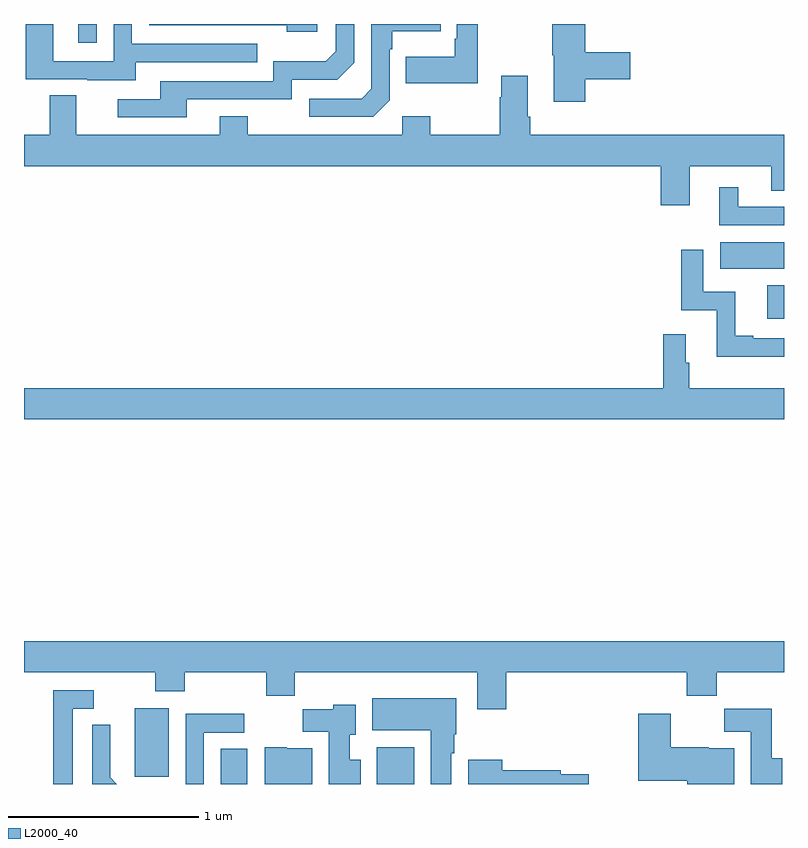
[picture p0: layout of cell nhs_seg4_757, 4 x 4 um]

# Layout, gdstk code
import gdstk
lib = gdstk.Library(unit=1e-6, precision=1e-09)
def R(c, l, rs):  # rectangles x0, y0, x1, y1
    for r in rs: c.add(gdstk.rectangle(r[:2], r[2:], *l))
def P(c, l, *ps):  # polygons
    for p in ps: c.add(gdstk.Polygon(p, *l))
L2000_40 = (2000, 40)

nhs_seg4_757 = lib.new_cell('nhs_seg4_757')
R(nhs_seg4_757, L2000_40, [(150.035,794.9,150.175,795.086), (150.857,794.9,151.054,795.094), (149.582,794.937,149.761,795.298), (152.912,797.348,153,797.524), (152.664,797.612,153,797.752), (149.285,798.801,149.382,798.9)])
P(nhs_seg4_757, L2000_40, [(150.924,798.498),(150.924,798.767),(150.937,798.767),(150.937,798.863),(151.193,798.863),(151.193,798.9),(150.828,798.9),(150.828,798.558),(150.777,798.507),(150.501,798.507),(150.501,798.411),(150.837,798.411)],
  [(151.387,798.9),(151.278,798.9),(151.278,798.823),(151.266,798.823),(151.266,798.727),(151.009,798.727),(151.009,798.587),(151.387,798.587)],
  [(151.955,798.61),(152.191,798.61),(152.191,798.752),(151.955,798.752),(151.955,798.9),(151.78,798.9),(151.78,798.735),(151.787,798.735),(151.787,798.492),(151.955,798.492)],
  [(149.587,798.699),(150.227,798.699),(150.227,798.795),(149.568,798.795),(149.568,798.9),(149.472,798.9),(149.472,798.705),(149.154,798.705),(149.154,798.9),(149.009,798.9),(149.009,798.609),(149.333,798.609),(149.333,798.605),(149.587,798.605)],
  [(150.544,798.9),(149.658,798.9),(149.658,798.894),(150.383,798.894),(150.383,798.86),(150.544,798.86)],
  [(149.857,798.504),(150.408,798.504),(150.408,798.606),(150.648,798.606),(150.738,798.696),(150.738,798.9),(150.642,798.9),(150.642,798.756),(150.589,798.703),(150.312,798.703),(150.312,798.6),(149.717,798.6),(149.717,798.504),(149.493,798.504),(149.493,798.408),(149.857,798.408)],
  [(152.503,798.152),(152.933,798.152),(152.933,798.022),(153,798.022),(153,798.316),(151.664,798.316),(151.664,798.412),(151.651,798.412),(151.651,798.628),(151.511,798.628),(151.511,798.515),(151.504,798.515),(151.504,798.316),(151.137,798.316),(151.137,798.415),(150.99,798.415),(150.99,798.316),(150.177,798.316),(150.177,798.415),(150.029,798.415),(150.029,798.316),(149.275,798.316),(149.275,798.524),(149.135,798.524),(149.135,798.316),(149,798.316),(149,798.152),(152.351,798.152),(152.351,797.946),(152.503,797.946)],
  [(153,797.937),(152.758,797.937),(152.758,798.04),(152.66,798.04),(152.66,797.841),(153,797.841)],
  [(153,797.247),(152.839,797.247),(152.839,797.26),(152.743,797.26),(152.743,797.49),(152.574,797.49),(152.574,797.713),(152.458,797.713),(152.458,797.394),(152.645,797.394),(152.645,797.15),(153,797.15)],
  [(153,796.984),(152.501,796.984),(152.501,797.117),(152.482,797.117),(152.482,797.266),(152.365,797.266),(152.365,796.984),(149,796.984),(149,796.82),(153,796.82)],
  [(151.538,795.488),(152.489,795.488),(152.489,795.364),(152.645,795.364),(152.645,795.488),(153,795.488),(153,795.652),(149,795.652),(149,795.488),(149.692,795.488),(149.692,795.389),(149.847,795.389),(149.847,795.488),(150.274,795.488),(150.274,795.364),(150.425,795.364),(150.425,795.488),(151.385,795.488),(151.385,795.294),(151.538,795.294)],
  [(149.257,795.297),(149.368,795.297),(149.368,795.393),(149.153,795.393),(149.153,794.9),(149.257,794.9)],
  [(151.249,795.062),(151.264,795.062),(151.264,795.162),(151.276,795.162),(151.276,795.352),(150.833,795.352),(150.833,795.182),(151.142,795.182),(151.142,794.9),(151.249,794.9)],
  [(150.772,795.028),(150.715,795.028),(150.715,795.158),(150.745,795.158),(150.745,795.316),(150.627,795.316),(150.627,795.294),(150.466,795.294),(150.466,795.176),(150.605,795.176),(150.605,794.9),(150.772,794.9)],
  [(152.992,795.036),(152.935,795.036),(152.935,795.295),(152.686,795.295),(152.686,795.176),(152.825,795.176),(152.825,794.9),(152.992,794.9)],
  [(152.737,795.088),(152.604,795.088),(152.604,795.094),(152.404,795.094),(152.404,795.271),(152.234,795.271),(152.234,794.918),(152.49,794.918),(152.49,794.9),(152.737,794.9)],
  [(149.946,795.171),(150.16,795.171),(150.16,795.27),(149.85,795.27),(149.85,794.9),(149.946,794.9)],
  [(149.453,794.936),(149.453,795.058),(149.454,795.058),(149.454,795.212),(149.358,795.212),(149.358,794.9),(149.488,794.9)],
  [(150.517,795.088),(150.384,795.088),(150.384,795.094),(150.266,795.094),(150.266,794.9),(150.517,794.9)],
  [(151.973,794.952),(151.826,794.952),(151.826,794.972),(151.516,794.972),(151.516,795.028),(151.337,795.028),(151.337,794.9),(151.973,794.9)])

lib.write_gds('nhs_seg4_757.gds')
